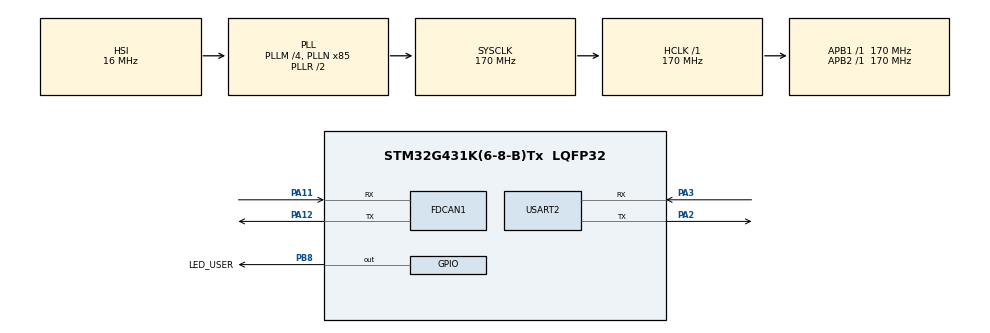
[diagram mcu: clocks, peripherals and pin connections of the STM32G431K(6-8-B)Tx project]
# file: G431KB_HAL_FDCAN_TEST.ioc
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FDCAN1.CalculateBaudRateNominal=500000
FDCAN1.CalculateTimeBitNominal=2000
FDCAN1.CalculateTimeQuantumNominal=100.0
FDCAN1.NominalPrescaler=17
FDCAN1.NominalTimeSeg1=15
FDCAN1.NominalTimeSeg2=4
Mcu.Family=STM32G4
Mcu.Name=STM32G431K(6-8-B)Tx
Mcu.Package=LQFP32
NVIC.PriorityGroup=NVIC_PRIORITYGROUP_4
PA11.Mode=FDCAN_Activate
PA11.Signal=FDCAN1_RX
PA12.Mode=FDCAN_Activate
PA12.Signal=FDCAN1_TX
PA2.Mode=Asynchronous
PA2.Signal=USART2_TX
PA3.Mode=Asynchronous
PA3.Signal=USART2_RX
PB8-BOOT0.GPIO_Label=LED_USER
PB8-BOOT0.Signal=GPIO_Output
ProjectManager.HeapSize=0x200
ProjectManager.StackSize=0x400
ProjectManager.TargetToolchain=STM32CubeIDE
RCC.ADC12Freq_Value=170000000
RCC.AHBFreq_Value=170000000
RCC.APB1Freq_Value=170000000
RCC.APB1TimFreq_Value=170000000
RCC.APB2Freq_Value=170000000
RCC.APB2TimFreq_Value=170000000
RCC.CortexFreq_Value=170000000
RCC.EXTERNAL_CLOCK_VALUE=12288000
RCC.HCLKFreq_Value=170000000
RCC.HSE_VALUE=8000000
RCC.HSI48_VALUE=48000000
RCC.HSI_VALUE=16000000
RCC.LSE_VALUE=32768
RCC.PLLM=RCC_PLLM_DIV4
RCC.PLLN=85
RCC.SYSCLKFreq_VALUE=170000000
RCC.SYSCLKSource=RCC_SYSCLKSOURCE_PLLCLK
RCC.USBFreq_Value=170000000
RCC.VCOOutputFreq_Value=340000000
USART2.VirtualMode-Asynchronous=VM_ASYNC
VP_SYS_VS_DBSignals.Mode=DisableDeadBatterySignals
board=NUCLEO-G431KB

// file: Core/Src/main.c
/* USER CODE BEGIN Header */
/**
  ******************************************************************************
  * @file           : main.c
  * @brief          : Main program body
  ******************************************************************************
  * @attention
  *
  * Copyright (c) 2026 STMicroelectronics.
  * All rights reserved.
  *
  * This software is licensed under terms that can be found in the LICENSE file
  * in the root directory of this software component.
  * If no LICENSE file comes with this software, it is provided AS-IS.
  *
  ******************************************************************************
  */
/* USER CODE END Header */
#include "main.h"

FDCAN_HandleTypeDef hfdcan1;

UART_HandleTypeDef huart2;

/* USER CODE BEGIN PV */
FDCAN_TxHeaderTypeDef TxHeader;
FDCAN_RxHeaderTypeDef RxHeader;
uint8_t TxData[8] = {0x11, 0x22, 0x33, 0x44, 0x55, 0x66, 0x77, 0x88};
uint8_t RxData[8];

/* USER CODE END PV */

void SystemClock_Config(void);
static void MX_GPIO_Init(void);
static void MX_FDCAN1_Init(void);
static void MX_USART2_UART_Init(void);

int main(void)
{

  /* MCU Configuration--------------------------------------------------------*/

  /* Reset of all peripherals, Initializes the Flash interface and the Systick. */
  HAL_Init();

  /* Configure the system clock */
  SystemClock_Config();

  /* Initialize all configured peripherals */
  MX_GPIO_Init();
  MX_FDCAN1_Init();
  MX_USART2_UART_Init();
  /* USER CODE BEGIN 2 */
  // 1. Configurar filtro global para aceptar todos los mensajes sin filtros específicos por ahora
  HAL_FDCAN_ConfigGlobalFilter(&hfdcan1, FDCAN_ACCEPT_IN_RX_FIFO0, FDCAN_ACCEPT_IN_RX_FIFO0, FDCAN_FILTER_REMOTE, FDCAN_FILTER_REMOTE);

  // 2. Arrancar el periférico FDCAN
  if (HAL_FDCAN_Start(&hfdcan1) != HAL_OK)
  {
      Error_Handler();
  }

  // 3. Configurar la estructura del mensaje que vas a enviar
  TxHeader.Identifier = 0x123;                  // El ID que verás en candump
  TxHeader.IdType = FDCAN_STANDARD_ID;
  TxHeader.TxFrameType = FDCAN_DATA_FRAME;
  TxHeader.DataLength = FDCAN_DLC_BYTES_8;      // 8 bytes de datos
  TxHeader.ErrorStateIndicator = FDCAN_ESI_ACTIVE;
  TxHeader.BitRateSwitch = FDCAN_BRS_OFF;       // Modo clásico (sin cambio de velocidad)
  TxHeader.FDFormat = FDCAN_CLASSIC_CAN;        // Modo clásico coincidiendo con CubeMX
  TxHeader.TxEventFifoControl = FDCAN_NO_TX_EVENTS;
  TxHeader.MessageMarker = 0;
  /* USER CODE END 2 */

  /* Infinite loop */
  /* USER CODE BEGIN WHILE */
  while (1)
  {
	  	// Enviar el mensaje al buffer de transmisión
	    HAL_FDCAN_AddMessageToTxFifoQ(&hfdcan1, &TxHeader, TxData);

	    // Cambiar el estado del LED integrado de la Nucleo para saber que el código corre
	    HAL_GPIO_TogglePin(LED_USER_GPIO_Port, LED_USER_Pin);

	    // Esperar 1 segundo
	    HAL_Delay(1000);
    /* USER CODE END WHILE */

  }
}

void SystemClock_Config(void)
{
  RCC_OscInitTypeDef RCC_OscInitStruct = {0};
  RCC_ClkInitTypeDef RCC_ClkInitStruct = {0};

  /** Configure the main internal regulator output voltage
  */
  HAL_PWREx_ControlVoltageScaling(PWR_REGULATOR_VOLTAGE_SCALE1_BOOST);

  /** Initializes the RCC Oscillators according to the specified parameters
  * in the RCC_OscInitTypeDef structure.
  */
  RCC_OscInitStruct.OscillatorType = RCC_OSCILLATORTYPE_HSI;
  RCC_OscInitStruct.HSIState = RCC_HSI_ON;
  RCC_OscInitStruct.HSICalibrationValue = RCC_HSICALIBRATION_DEFAULT;
  RCC_OscInitStruct.PLL.PLLState = RCC_PLL_ON;
  RCC_OscInitStruct.PLL.PLLSource = RCC_PLLSOURCE_HSI;
  RCC_OscInitStruct.PLL.PLLM = RCC_PLLM_DIV4;
  RCC_OscInitStruct.PLL.PLLN = 85;
  RCC_OscInitStruct.PLL.PLLP = RCC_PLLP_DIV2;
  RCC_OscInitStruct.PLL.PLLQ = RCC_PLLQ_DIV2;
  RCC_OscInitStruct.PLL.PLLR = RCC_PLLR_DIV2;
  if (HAL_RCC_OscConfig(&RCC_OscInitStruct) != HAL_OK)
  {
    Error_Handler();
  }

  /** Initializes the CPU, AHB and APB buses clocks
  */
  RCC_ClkInitStruct.ClockType = RCC_CLOCKTYPE_HCLK|RCC_CLOCKTYPE_SYSCLK
                              |RCC_CLOCKTYPE_PCLK1|RCC_CLOCKTYPE_PCLK2;
  RCC_ClkInitStruct.SYSCLKSource = RCC_SYSCLKSOURCE_PLLCLK;
  RCC_ClkInitStruct.AHBCLKDivider = RCC_SYSCLK_DIV1;
  RCC_ClkInitStruct.APB1CLKDivider = RCC_HCLK_DIV1;
  RCC_ClkInitStruct.APB2CLKDivider = RCC_HCLK_DIV1;

  if (HAL_RCC_ClockConfig(&RCC_ClkInitStruct, FLASH_LATENCY_4) != HAL_OK)
  {
    Error_Handler();
  }
}

static void MX_FDCAN1_Init(void)
{

  hfdcan1.Instance = FDCAN1;
  hfdcan1.Init.ClockDivider = FDCAN_CLOCK_DIV1;
  hfdcan1.Init.FrameFormat = FDCAN_FRAME_CLASSIC;
  hfdcan1.Init.Mode = FDCAN_MODE_NORMAL;
  hfdcan1.Init.AutoRetransmission = DISABLE;
  hfdcan1.Init.TransmitPause = DISABLE;
  hfdcan1.Init.ProtocolException = DISABLE;
  hfdcan1.Init.NominalPrescaler = 17;
  hfdcan1.Init.NominalSyncJumpWidth = 1;
  hfdcan1.Init.NominalTimeSeg1 = 15;
  hfdcan1.Init.NominalTimeSeg2 = 4;
  hfdcan1.Init.DataPrescaler = 1;
  hfdcan1.Init.DataSyncJumpWidth = 1;
  hfdcan1.Init.DataTimeSeg1 = 1;
  hfdcan1.Init.DataTimeSeg2 = 1;
  hfdcan1.Init.StdFiltersNbr = 0;
  hfdcan1.Init.ExtFiltersNbr = 0;
  hfdcan1.Init.TxFifoQueueMode = FDCAN_TX_FIFO_OPERATION;
  if (HAL_FDCAN_Init(&hfdcan1) != HAL_OK)
  {
    Error_Handler();
  }

}

static void MX_USART2_UART_Init(void)
{

  huart2.Instance = USART2;
  huart2.Init.BaudRate = 115200;
  huart2.Init.WordLength = UART_WORDLENGTH_8B;
  huart2.Init.StopBits = UART_STOPBITS_1;
  huart2.Init.Parity = UART_PARITY_NONE;
  huart2.Init.Mode = UART_MODE_TX_RX;
  huart2.Init.HwFlowCtl = UART_HWCONTROL_NONE;
  huart2.Init.OverSampling = UART_OVERSAMPLING_16;
  huart2.Init.OneBitSampling = UART_ONE_BIT_SAMPLE_DISABLE;
  huart2.Init.ClockPrescaler = UART_PRESCALER_DIV1;
  huart2.AdvancedInit.AdvFeatureInit = UART_ADVFEATURE_NO_INIT;
  if (HAL_UART_Init(&huart2) != HAL_OK)
  {
    Error_Handler();
  }
  if (HAL_UARTEx_SetTxFifoThreshold(&huart2, UART_TXFIFO_THRESHOLD_1_8) != HAL_OK)
  {
    Error_Handler();
  }
  if (HAL_UARTEx_SetRxFifoThreshold(&huart2, UART_RXFIFO_THRESHOLD_1_8) != HAL_OK)
  {
    Error_Handler();
  }
  if (HAL_UARTEx_DisableFifoMode(&huart2) != HAL_OK)
  {
    Error_Handler();
  }

}

static void MX_GPIO_Init(void)
{
  GPIO_InitTypeDef GPIO_InitStruct = {0};

  /* GPIO Ports Clock Enable */
  __HAL_RCC_GPIOA_CLK_ENABLE();
  __HAL_RCC_GPIOB_CLK_ENABLE();

  /*Configure GPIO pin Output Level */
  HAL_GPIO_WritePin(LED_USER_GPIO_Port, LED_USER_Pin, GPIO_PIN_RESET);

  /*Configure GPIO pin : LED_USER_Pin */
  GPIO_InitStruct.Pin = LED_USER_Pin;
  GPIO_InitStruct.Mode = GPIO_MODE_OUTPUT_PP;
  GPIO_InitStruct.Pull = GPIO_NOPULL;
  GPIO_InitStruct.Speed = GPIO_SPEED_FREQ_LOW;
  HAL_GPIO_Init(LED_USER_GPIO_Port, &GPIO_InitStruct);

}

void Error_Handler(void)
{
  __disable_irq();
  while (1)
  {
  }
}
